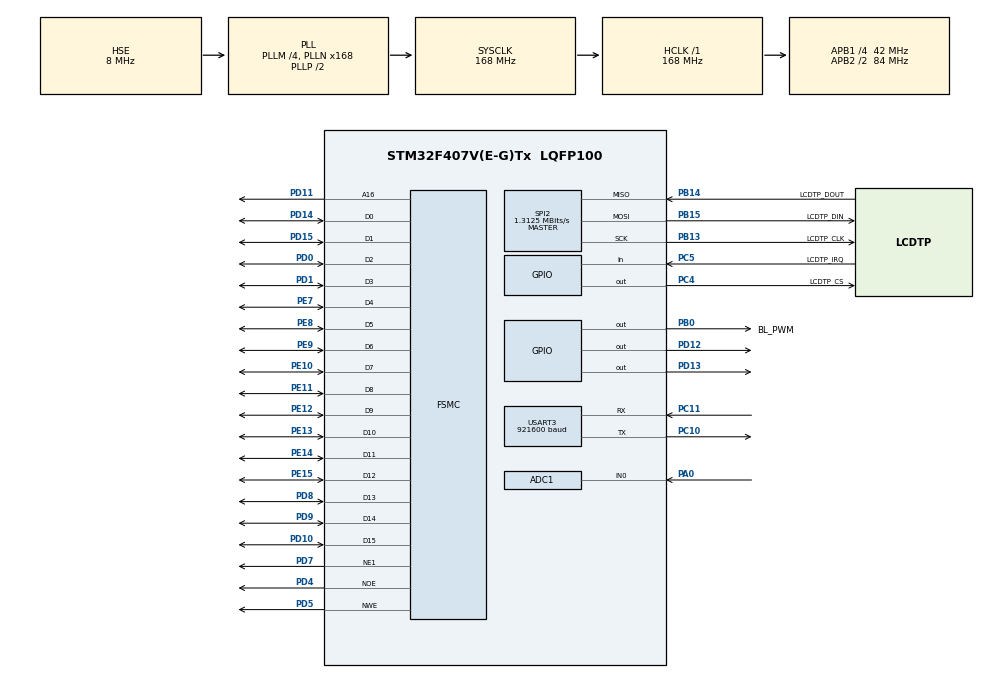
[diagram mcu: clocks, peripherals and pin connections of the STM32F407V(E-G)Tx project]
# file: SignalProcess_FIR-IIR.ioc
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ADC1.Channel-0\#ChannelRegularConversion=ADC_CHANNEL_0
ADC1.ClockPrescaler=ADC_CLOCK_SYNC_PCLK_DIV8
ADC1.ContinuousConvMode=DISABLE
ADC1.DMAContinuousRequests=ENABLE
ADC1.ExternalTrigConv=ADC_EXTERNALTRIGCONV_T3_TRGO
ADC1.NbrOfConversionFlag=1
ADC1.Rank-0\#ChannelRegularConversion=1
ADC1.Resolution=ADC_RESOLUTION_8B
ADC1.SamplingTime-0\#ChannelRegularConversion=ADC_SAMPLETIME_480CYCLES
ADC1.master=1
Dma.ADC1.0.Direction=DMA_PERIPH_TO_MEMORY
Dma.ADC1.0.FIFOMode=DMA_FIFOMODE_DISABLE
Dma.ADC1.0.Instance=DMA2_Stream0
Dma.ADC1.0.MemDataAlignment=DMA_MDATAALIGN_BYTE
Dma.ADC1.0.MemInc=DMA_MINC_DISABLE
Dma.ADC1.0.Mode=DMA_CIRCULAR
Dma.ADC1.0.PeriphDataAlignment=DMA_PDATAALIGN_BYTE
Dma.ADC1.0.PeriphInc=DMA_PINC_DISABLE
Dma.ADC1.0.Priority=DMA_PRIORITY_LOW
Dma.Request0=ADC1
FREERTOS.Tasks01=defaultTask,0,128,StartDefaultTask,Default,NULL,Dynamic,NULL,NULL
FSMC.AddressSetupTime1=4
FSMC.BusTurnAroundDuration1=0
FSMC.DataSetupTime1=40
Mcu.Family=STM32F4
Mcu.Name=STM32F407V(E-G)Tx
Mcu.Package=LQFP100
NVIC.DMA2_Stream0_IRQn=true\:5\:0\:false\:false\:true\:true\:false\:true\:true
NVIC.PriorityGroup=NVIC_PRIORITYGROUP_4
NVIC.SPI2_IRQn=true\:5\:0\:false\:false\:true\:true\:true\:true\:true
NVIC.USART3_IRQn=true\:5\:0\:false\:false\:true\:true\:true\:true\:true
PA0-WKUP.Signal=ADCx_IN0
PB0.GPIO_Label=BL_PWM
PB0.Signal=GPIO_Output
PB13.GPIO_Label=LCDTP_CLK
PB13.Mode=Full_Duplex_Master
PB13.Signal=SPI2_SCK
PB14.GPIO_Label=LCDTP_DOUT
PB14.Mode=Full_Duplex_Master
PB14.Signal=SPI2_MISO
PB15.GPIO_Label=LCDTP_DIN
PB15.Mode=Full_Duplex_Master
PB15.Signal=SPI2_MOSI
PC10.Mode=Asynchronous
PC10.Signal=USART3_TX
PC11.Mode=Asynchronous
PC11.Signal=USART3_RX
PC4.GPIO_Label=LCDTP_CS
PC4.Signal=GPIO_Output
PC5.GPIO_Label=LCDTP_IRQ
PC5.Signal=GPIO_Input
PD0.Mode=16b-d1
PD0.Signal=FSMC_D2
PD1.Mode=16b-d1
PD1.Signal=FSMC_D3
PD10.Mode=16b-d1
PD10.Signal=FSMC_D15
PD11.Mode=A16_1
PD11.Signal=FSMC_A16
PD12.Signal=GPIO_Output
PD13.Signal=GPIO_Output
PD14.Mode=16b-d1
PD14.Signal=FSMC_D0
PD15.Mode=16b-d1
PD15.Signal=FSMC_D1
PD4.Mode=Lcd1
PD4.Signal=FSMC_NOE
PD5.Mode=Lcd1
PD5.Signal=FSMC_NWE
PD7.Mode=NorPsramChipSelect1_1
PD7.Signal=FSMC_NE1
PD8.Mode=16b-d1
PD8.Signal=FSMC_D13
PD9.Mode=16b-d1
PD9.Signal=FSMC_D14
PE10.Mode=16b-d1
PE10.Signal=FSMC_D7
PE11.Mode=16b-d1
PE11.Signal=FSMC_D8
PE12.Mode=16b-d1
PE12.Signal=FSMC_D9
PE13.Mode=16b-d1
PE13.Signal=FSMC_D10
PE14.Mode=16b-d1
PE14.Signal=FSMC_D11
PE15.Mode=16b-d1
PE15.Signal=FSMC_D12
PE7.Mode=16b-d1
PE7.Signal=FSMC_D4
PE8.Mode=16b-d1
PE8.Signal=FSMC_D5
PE9.Mode=16b-d1
PE9.Signal=FSMC_D6
PH0-OSC_IN.Mode=HSE-External-Oscillator
PH0-OSC_IN.Signal=RCC_OSC_IN
PH1-OSC_OUT.Mode=HSE-External-Oscillator
PH1-OSC_OUT.Signal=RCC_OSC_OUT
ProjectManager.HeapSize=0x200
ProjectManager.StackSize=0x400
ProjectManager.TargetToolchain=STM32CubeIDE
RCC.48MHZClocksFreq_Value=84000000
RCC.AHBFreq_Value=168000000
RCC.APB1CLKDivider=RCC_HCLK_DIV4
RCC.APB1Freq_Value=42000000
RCC.APB1TimFreq_Value=84000000
RCC.APB2CLKDivider=RCC_HCLK_DIV2
RCC.APB2Freq_Value=84000000
RCC.APB2TimFreq_Value=168000000
RCC.CortexFreq_Value=168000000
RCC.HCLKFreq_Value=168000000
RCC.HSE_VALUE=8000000
RCC.HSI_VALUE=16000000
RCC.LSE_VALUE=32768
RCC.PLLM=4
RCC.PLLN=168
RCC.PLLSourceVirtual=RCC_PLLSOURCE_HSE
RCC.SYSCLKFreq_VALUE=168000000
RCC.SYSCLKSource=RCC_SYSCLKSOURCE_PLLCLK
RCC.VCOOutputFreq_Value=336000000
SH.ADCx_IN0.0=ADC1_IN0,IN0
SPI2.BaudRatePrescaler=SPI_BAUDRATEPRESCALER_32
SPI2.CalculateBaudRate=1.3125 MBits/s
SPI2.Direction=SPI_DIRECTION_2LINES
SPI2.Mode=SPI_MODE_MASTER
SPI2.VirtualType=VM_MASTER
TIM3.Period=949
TIM3.Prescaler=9
TIM3.TIM_MasterOutputTrigger=TIM_TRGO_UPDATE
USART3.BaudRate=921600
USART3.VirtualMode=VM_ASYNC
VP_FREERTOS_VS_CMSIS_V1.Mode=CMSIS_V1
VP_TIM3_VS_ClockSourceINT.Mode=Internal
board=custom

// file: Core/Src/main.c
/* USER CODE BEGIN Header */
/**
  ******************************************************************************
  * @file           : main.c
  * @brief          : Main program body
  ******************************************************************************
  * @attention
  *
  * Copyright (c) 2026 STMicroelectronics.
  * All rights reserved.
  *
  * This software is licensed under terms that can be found in the LICENSE file
  * in the root directory of this software component.
  * If no LICENSE file comes with this software, it is provided AS-IS.
  *
  ******************************************************************************
  */
/* USER CODE END Header */
#include "main.h"
#include "cmsis_os.h"
#include "adc.h"
#include "dma.h"
#include "spi.h"
#include "tim.h"
#include "usart.h"
#include "gpio.h"
#include "fsmc.h"

/* USER CODE BEGIN Includes */
#include "openx07v_c_lcd.h"
#include "touch_panel.h"
/* 신호처리(ADC/FFT/UART)는 app_tasks.c 의 FreeRTOS 태스크에서 수행한다.
 * 태스크 생성은 freertos.c 의 MX_FREERTOS_Init() 에서 호출된다. */
/* USER CODE END Includes */

/* USER CODE BEGIN PV */
/* ADC 수집은 app_tasks.c 의 DspTask 가 블록 DMA 로 시작/처리한다. */
/* USER CODE END PV */

void SystemClock_Config(void);
void MX_FREERTOS_Init(void);

/* USER CODE BEGIN 0 */
void LCD_TFT_Init_Calib(void);
/* USER CODE END 0 */

int main(void)
{

  /* MCU Configuration--------------------------------------------------------*/

  /* Reset of all peripherals, Initializes the Flash interface and the Systick. */
  HAL_Init();

  /* Configure the system clock */
  SystemClock_Config();

  /* Initialize all configured peripherals */
  MX_GPIO_Init();
  MX_DMA_Init();
  MX_ADC1_Init();
  MX_FSMC_Init();
  MX_USART3_UART_Init();
  MX_SPI2_Init();
  MX_TIM3_Init();
  /* USER CODE BEGIN 2 */
	HAL_UART_Transmit(&huart3, (uint8_t*)"USART3 OK\r\n", 11, 100);

	BSP_LCD_Init();
	LCD_TFT_Init_Calib();
	/* ADC 블록 DMA + TIM3 트리거 시작은 DspTask(app_tasks.c)가 수행한다
	 * (DMA 버퍼/동기화 객체가 거기 있고, 스케줄러 시작 후 안전하게 시작). */
  /* USER CODE END 2 */

  /* Call init function for freertos objects (in cmsis_os2.c) */
  MX_FREERTOS_Init();

  /* Start scheduler */
  osKernelStart();

  /* We should never get here as control is now taken by the scheduler */

  /* Infinite loop */
  while (1)
  {

  }
}

void SystemClock_Config(void)
{
  RCC_OscInitTypeDef RCC_OscInitStruct = {0};
  RCC_ClkInitTypeDef RCC_ClkInitStruct = {0};

  /** Configure the main internal regulator output voltage
  */
  __HAL_RCC_PWR_CLK_ENABLE();
  __HAL_PWR_VOLTAGESCALING_CONFIG(PWR_REGULATOR_VOLTAGE_SCALE1);

  /** Initializes the RCC Oscillators according to the specified parameters
  * in the RCC_OscInitTypeDef structure.
  */
  RCC_OscInitStruct.OscillatorType = RCC_OSCILLATORTYPE_HSE;
  RCC_OscInitStruct.HSEState = RCC_HSE_ON;
  RCC_OscInitStruct.PLL.PLLState = RCC_PLL_ON;
  RCC_OscInitStruct.PLL.PLLSource = RCC_PLLSOURCE_HSE;
  RCC_OscInitStruct.PLL.PLLM = 4;
  RCC_OscInitStruct.PLL.PLLN = 168;
  RCC_OscInitStruct.PLL.PLLP = RCC_PLLP_DIV2;
  RCC_OscInitStruct.PLL.PLLQ = 4;
  if (HAL_RCC_OscConfig(&RCC_OscInitStruct) != HAL_OK)
  {
    Error_Handler();
  }

  /** Initializes the CPU, AHB and APB buses clocks
  */
  RCC_ClkInitStruct.ClockType = RCC_CLOCKTYPE_HCLK|RCC_CLOCKTYPE_SYSCLK
                              |RCC_CLOCKTYPE_PCLK1|RCC_CLOCKTYPE_PCLK2;
  RCC_ClkInitStruct.SYSCLKSource = RCC_SYSCLKSOURCE_PLLCLK;
  RCC_ClkInitStruct.AHBCLKDivider = RCC_SYSCLK_DIV1;
  RCC_ClkInitStruct.APB1CLKDivider = RCC_HCLK_DIV4;
  RCC_ClkInitStruct.APB2CLKDivider = RCC_HCLK_DIV2;

  if (HAL_RCC_ClockConfig(&RCC_ClkInitStruct, FLASH_LATENCY_5) != HAL_OK)
  {
    Error_Handler();
  }
}

/* USER CODE BEGIN 4 */
void LCD_TFT_Init_Calib(void)
{
	BSP_LCD_DisplayOn();

	TouchPanel_Calibrate();
	BSP_LCD_SetBackColor(LCD_COLOR_BLACK);
	BSP_LCD_Clear(LCD_COLOR_BLACK);

	/* 상단 띠: 좌측 열=TIME, 우측 열=FFT. 행 라벨(RAW/FIR/IIR)은 DisplayTask 가 그린다. */
	BSP_LCD_SetTextColor(LCD_COLOR_LIGHTGRAY);
	BSP_LCD_FillRect(0, 0, 320, 17);

	BSP_LCD_SetFont(&Font12);
	BSP_LCD_SetBackColor(LCD_COLOR_LIGHTGRAY);
	BSP_LCD_SetTextColor(LCD_COLOR_WHITE);
	BSP_LCD_DisplayStringAt(70,  3, (uint8_t*)"TIME", LEFT_MODE);
	BSP_LCD_DisplayStringAt(230, 3, (uint8_t*)"FFT",  LEFT_MODE);
}
/* USER CODE END 4 */

void Error_Handler(void)
{
	__disable_irq();
	while (1)
	{
	}
}

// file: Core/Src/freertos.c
/* USER CODE BEGIN Header */
/**
  ******************************************************************************
  * File Name          : freertos.c
  * Description        : Code for freertos applications
  ******************************************************************************
  * @attention
  *
  * Copyright (c) 2026 STMicroelectronics.
  * All rights reserved.
  *
  * This software is licensed under terms that can be found in the LICENSE file
  * in the root directory of this software component.
  * If no LICENSE file comes with this software, it is provided AS-IS.
  *
  ******************************************************************************
  */
/* USER CODE END Header */

#include "FreeRTOS.h"
#include "task.h"
#include "main.h"
#include "cmsis_os.h"

/* USER CODE BEGIN Includes */
#include "app_tasks.h"
/* USER CODE END Includes */

osThreadId defaultTaskHandle;

void StartDefaultTask(void const * argument);

void MX_FREERTOS_Init(void); /* (MISRA C 2004 rule 8.1) */

/* GetIdleTaskMemory prototype (linked to static allocation support) */
void vApplicationGetIdleTaskMemory( StaticTask_t **ppxIdleTaskTCBBuffer, StackType_t **ppxIdleTaskStackBuffer, uint32_t *pulIdleTaskStackSize );

/* USER CODE BEGIN GET_IDLE_TASK_MEMORY */
static StaticTask_t xIdleTaskTCBBuffer;
static StackType_t xIdleStack[configMINIMAL_STACK_SIZE];

void vApplicationGetIdleTaskMemory( StaticTask_t **ppxIdleTaskTCBBuffer, StackType_t **ppxIdleTaskStackBuffer, uint32_t *pulIdleTaskStackSize )
{
  *ppxIdleTaskTCBBuffer = &xIdleTaskTCBBuffer;
  *ppxIdleTaskStackBuffer = &xIdleStack[0];
  *pulIdleTaskStackSize = configMINIMAL_STACK_SIZE;
  /* place for user code */
}
/* USER CODE END GET_IDLE_TASK_MEMORY */

void MX_FREERTOS_Init(void) {

  /* Create the thread(s) */
  /* definition and creation of defaultTask */
  osThreadDef(defaultTask, StartDefaultTask, osPriorityNormal, 0, 128);
  defaultTaskHandle = osThreadCreate(osThread(defaultTask), NULL);

  /* USER CODE BEGIN RTOS_THREADS */
  /* ADC / FFT / UART 태스크 + 동기화 객체 생성.
   * (osKernelStart() 가 호출되기 전이므로 여기서 안전하게 생성된다) */
  App_FreeRTOS_Init();
  /* USER CODE END RTOS_THREADS */

}

void StartDefaultTask(void const * argument)
{
  for(;;)
  {
    osDelay(1);
  }
}
